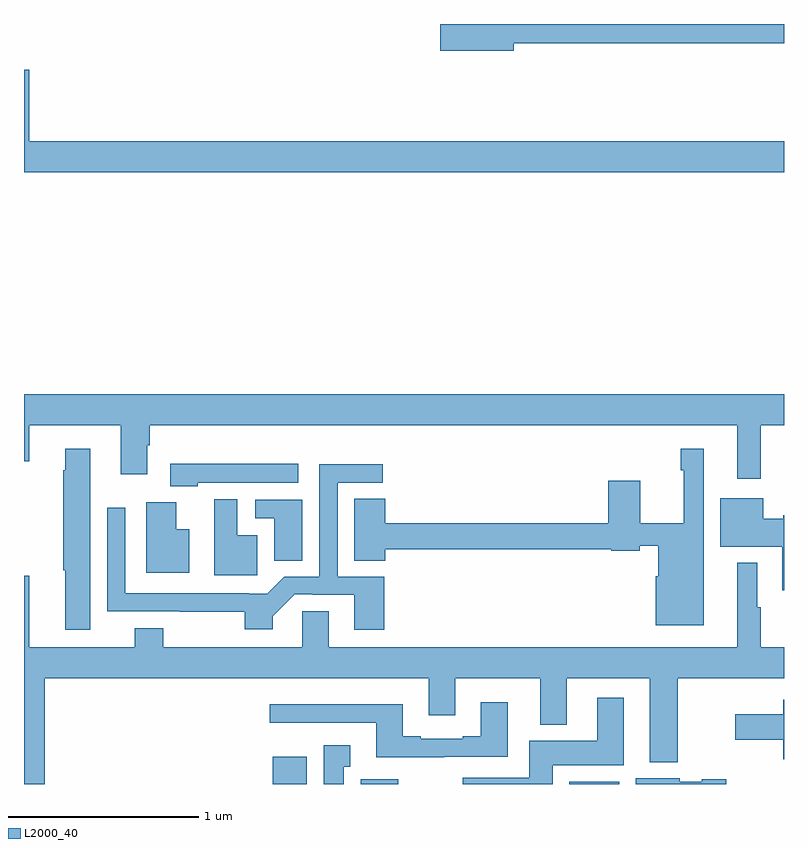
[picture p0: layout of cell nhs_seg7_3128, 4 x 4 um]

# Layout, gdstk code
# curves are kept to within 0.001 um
import gdstk
lib = gdstk.Library(unit=1e-6, precision=1e-09)
def R(c, l, rs):  # rectangles x0, y0, x1, y1
    for r in rs: c.add(gdstk.rectangle(r[:2], r[2:], *l))
def P(c, l, *ps):  # polygons
    for p in ps: c.add(gdstk.Polygon(p, *l))
L2000_40 = (2000, 40)

nhs_seg7_3128 = lib.new_cell('nhs_seg7_3128')
R(nhs_seg7_3128, L2000_40, [(310.31,1060,310.489,1060.144), (310.772,1060,310.969,1060.024), (311.87,1060,312.133,1060.012)])
P(nhs_seg7_3128, L2000_40, [(311.578,1063.9),(313,1063.9),(313,1064),(311.19,1064),(311.19,1063.858),(311.578,1063.858)],
  [(313,1063.384),(309.028,1063.384),(309.028,1063.759),(309,1063.759),(309,1063.22),(313,1063.22)],
  [(312.877,1061.888),(313,1061.888),(313,1062.052),(309,1062.052),(309,1061.7),(309.028,1061.7),(309.028,1061.888),(309.509,1061.888),(309.509,1061.631),(309.649,1061.631),(309.649,1061.782),(309.662,1061.782),(309.662,1061.888),(312.755,1061.888),(312.755,1061.607),(312.877,1061.607)],
  [(312.577,1061.764),(312.456,1061.764),(312.456,1061.651),(312.473,1061.651),(312.473,1061.372),(312.244,1061.372),(312.244,1061.596),(312.074,1061.596),(312.074,1061.372),(310.9,1061.372),(310.9,1061.501),(310.739,1061.501),(310.739,1061.176),(310.9,1061.176),(310.9,1061.236),(312.09,1061.236),(312.09,1061.228),(312.24,1061.228),(312.24,1061.255),(312.338,1061.255),(312.338,1061.094),(312.326,1061.094),(312.326,1060.835),(312.577,1060.835)],
  [(309.349,1061.764),(309.218,1061.764),(309.218,1061.651),(309.206,1061.651),(309.206,1061.124),(309.218,1061.124),(309.218,1060.812),(309.349,1060.812)],
  [(309.915,1061.585),(310.444,1061.585),(310.444,1061.686),(309.771,1061.686),(309.771,1061.567),(309.915,1061.567)],
  [(310.895,1061.091),(310.65,1061.091),(310.65,1061.586),(310.888,1061.586),(310.888,1061.684),(310.554,1061.684),(310.554,1061.091),(310.37,1061.091),(310.28,1061.001),(310.184,1061.001),(310.184,1061.004),(309.534,1061.004),(309.534,1061.455),(309.438,1061.455),(309.438,1060.908),(310.162,1060.907),(310.162,1060.814),(310.309,1060.814),(310.309,1060.882),(310.425,1060.998),(310.519,1060.998),(310.519,1060.995),(310.739,1060.995),(310.739,1060.812),(310.895,1060.812)],
  [(313,1061.415),(312.996,1061.415),(312.996,1061.397),(312.892,1061.397),(312.892,1061.503),(312.665,1061.503),(312.665,1061.249),(312.992,1061.249),(312.992,1061.019),(313,1061.019)],
  [(310.228,1061.308),(310.123,1061.308),(310.123,1061.5),(310.001,1061.5),(310.001,1061.099),(310.228,1061.099)],
  [(310.465,1061.496),(310.218,1061.496),(310.218,1061.4),(310.316,1061.4),(310.316,1061.176),(310.465,1061.176)],
  [(309.871,1061.341),(309.802,1061.341),(309.802,1061.482),(309.644,1061.482),(309.644,1061.111),(309.871,1061.111)],
  [(311.129,1060.362),(311.269,1060.362),(311.269,1060.556),(311.717,1060.556),(311.717,1060.313),(311.857,1060.313),(311.857,1060.556),(312.293,1060.556),(312.293,1060.115),(312.441,1060.115),(312.441,1060.556),(313,1060.556),(313,1060.72),(312.877,1060.72),(312.877,1060.931),(312.859,1060.931),(312.859,1061.164),(312.755,1061.164),(312.755,1060.72),(310.603,1060.72),(310.603,1060.91),(310.464,1060.91),(310.464,1060.72),(309.732,1060.72),(309.732,1060.819),(309.584,1060.819),(309.584,1060.72),(309.028,1060.72),(309.028,1061.095),(309,1061.095),(309,1060),(309.11,1060),(309.11,1060.556),(311.129,1060.556)],
  [(311.782,1060.1),(312.157,1060.1),(312.157,1060.453),(312.017,1060.453),(312.017,1060.228),(311.66,1060.228),(311.66,1060.033),(311.309,1060.033),(311.309,1060),(311.782,1060)],
  [(313,1060.444),(312.996,1060.444),(312.996,1060.366),(312.744,1060.366),(312.744,1060.232),(312.996,1060.232),(312.996,1060.13),(313,1060.13)],
  [(311.213,1060.143),(311.545,1060.143),(311.545,1060.429),(311.405,1060.429),(311.405,1060.252),(311.309,1060.252),(311.309,1060.239),(311.089,1060.239),(311.089,1060.252),(310.993,1060.252),(310.993,1060.42),(310.293,1060.42),(310.293,1060.323),(310.853,1060.323),(310.853,1060.142),(311.213,1060.142)],
  [(310.684,1060.091),(310.717,1060.091),(310.717,1060.204),(310.577,1060.204),(310.577,1060),(310.684,1060)],
  [(312.697,1060.025),(312.567,1060.025),(312.567,1060.012),(312.45,1060.012),(312.45,1060.03),(312.221,1060.03),(312.221,1060),(312.697,1060)])

lib.write_gds('nhs_seg7_3128.gds')
